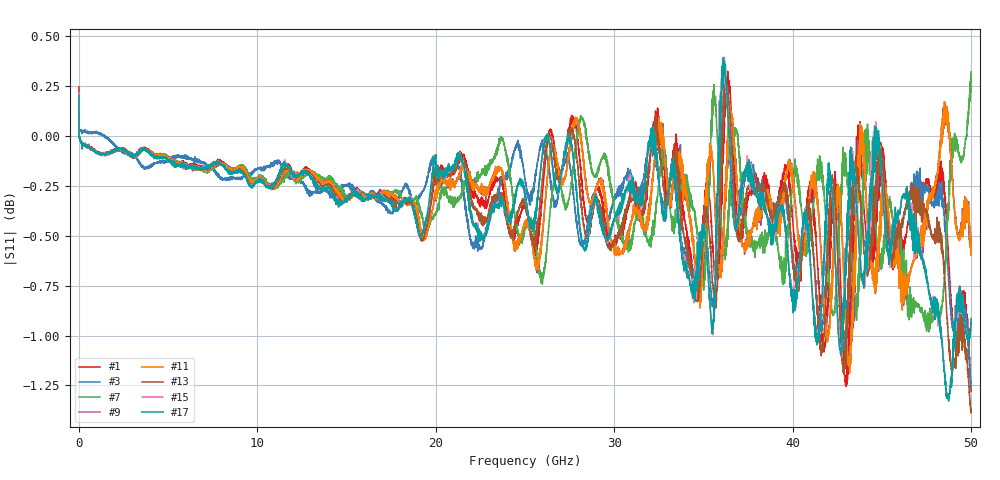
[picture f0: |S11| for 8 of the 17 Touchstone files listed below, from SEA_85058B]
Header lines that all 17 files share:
!Created with skrf (http://scikit-rf.org).
# Hz S RI R 50.0
!freq ReS11 ImS11
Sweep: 300 kHz to 50 GHz
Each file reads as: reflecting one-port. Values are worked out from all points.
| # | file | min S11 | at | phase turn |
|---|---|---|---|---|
| 1 | 85058B_FF_85056A_MSHORT_FieldFox_mate1_swp1.s1p | -1.3 dB | 50 GHz | -3964 deg |
| 2 | 85058B_FF_85056A_MSHORT_FieldFox_mate1_swp2.s1p | -1.3 dB | 50 GHz | -3964 deg |
| 3 | 85058B_FF_85058B_MOPEN_FieldFox_mate1_swp0.s1p | -1.3 dB | 49.99 GHz | -3781 deg |
| 4 | 85058B_FF_85058B_MOPEN_FieldFox_mate1_swp1.s1p | -1.3 dB | 49.99 GHz | -3781 deg |
| 5 | 85058B_FF_85058B_MOPEN_FieldFox_mate1_swp2.s1p | -1.3 dB | 49.99 GHz | -3781 deg |
| 6 | 85058B_FF_85058B_MSHORT1_FieldFox_mate1_swp0.s1p | -1.0 dB | 47.49 GHz | -3796 deg |
| 7 | 85058B_FF_85058B_MSHORT1_FieldFox_mate1_swp1.s1p | -1.0 dB | 47.63 GHz | -3797 deg |
| 8 | 85058B_FF_85058B_MSHORT1_FieldFox_mate1_swp2.s1p | -1.0 dB | 47.54 GHz | -3797 deg |
| 9 | 85058B_FF_85058B_MSHORT2_FieldFox_mate1_swp0.s1p | -1.2 dB | 43.21 GHz | -3902 deg |
| 10 | 85058B_FF_85058B_MSHORT2_FieldFox_mate1_swp1.s1p | -1.2 dB | 43.24 GHz | -3902 deg |
| 11 | 85058B_FF_85058B_MSHORT2_FieldFox_mate1_swp2.s1p | -1.2 dB | 43.2 GHz | -3902 deg |
| 12 | 85058B_FF_85058B_MSHORT3_FieldFox_mate1_swp0.s1p | -1.4 dB | 50 GHz | -3994 deg |
| 13 | 85058B_FF_85058B_MSHORT3_FieldFox_mate1_swp1.s1p | -1.4 dB | 49.99 GHz | -3994 deg |
| 14 | 85058B_FF_85058B_MSHORT3_FieldFox_mate1_swp2.s1p | -1.4 dB | 50 GHz | -3995 deg |
| 15 | 85058B_FF_85058B_MSHORT4_FieldFox_mate1_swp0.s1p | -1.3 dB | 48.73 GHz | -4053 deg |
| 16 | 85058B_FF_85058B_MSHORT4_FieldFox_mate1_swp1.s1p | -1.3 dB | 48.71 GHz | -4054 deg |
| 17 | 85058B_FF_85058B_MSHORT4_FieldFox_mate1_swp2.s1p | -1.3 dB | 48.74 GHz | -4054 deg |
